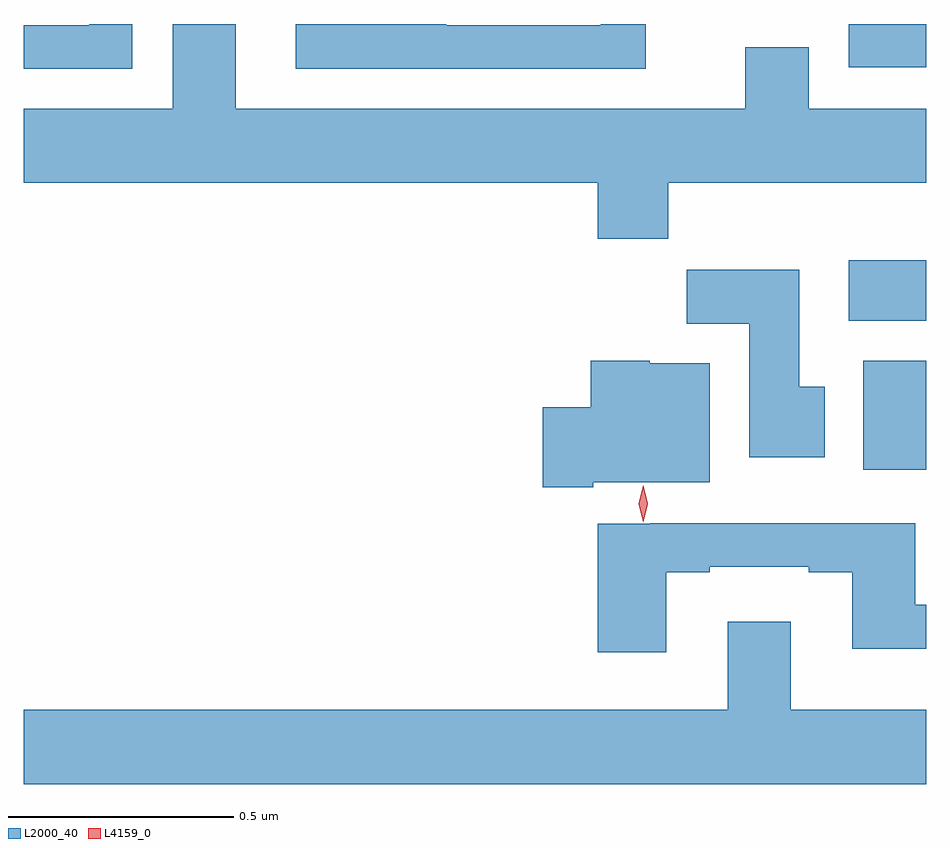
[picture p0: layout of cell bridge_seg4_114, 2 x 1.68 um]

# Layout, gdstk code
import gdstk
lib = gdstk.Library(unit=1e-6, precision=1e-09)
def R(c, l, rs):  # rectangles x0, y0, x1, y1
    for r in rs: c.add(gdstk.rectangle(r[:2], r[2:], *l))
def P(c, l, *ps):  # polygons
    for p in ps: c.add(gdstk.Polygon(p, *l))
L2000_40 = (2000, 40)
L4159_0 = (4159, 0)

bridge_seg4_114 = lib.new_cell('bridge_seg4_114')
R(bridge_seg4_114, L2000_40, [(604.181,794.852,604.321,795.094), (604.149,795.182,604.321,795.316), (604.149,795.744,604.321,795.84)])
P(bridge_seg4_114, L2000_40, [(603.749,795.488),(604.321,795.488),(604.321,795.652),(604.06,795.652),(604.06,795.788),(603.92,795.788),(603.92,795.652),(602.791,795.652),(602.791,795.84),(602.651,795.84),(602.651,795.652),(602.321,795.652),(602.321,795.488),(603.593,795.488),(603.593,795.364),(603.749,795.364)],
  [(602.562,795.84),(602.466,795.84),(602.466,795.837),(602.321,795.837),(602.321,795.741),(602.562,795.741)],
  [(603.699,795.84),(603.6,795.84),(603.6,795.837),(603.257,795.837),(603.257,795.84),(602.924,795.84),(602.924,795.741),(603.699,795.741)],
  [(604.096,795.036),(604.039,795.036),(604.039,795.295),(603.79,795.295),(603.79,795.176),(603.929,795.176),(603.929,794.88),(604.096,794.88)],
  [(603.583,794.825),(603.841,794.825),(603.841,795.088),(603.708,795.088),(603.708,795.094),(603.578,795.094),(603.578,794.991),(603.471,794.991),(603.471,794.813),(603.583,794.813)],
  [(603.745,794.625),(603.841,794.625),(603.841,794.637),(604.061,794.637),(604.061,794.625),(604.157,794.625),(604.157,794.456),(604.321,794.456),(604.321,794.553),(604.297,794.553),(604.297,794.734),(603.709,794.734),(603.709,794.733),(603.593,794.733),(603.593,794.448),(603.745,794.448)],
  [(604.321,794.32),(604.021,794.32),(604.021,794.515),(603.881,794.515),(603.881,794.32),(602.321,794.32),(602.321,794.156),(604.321,794.156)])
P(bridge_seg4_114, L4159_0, [(603.694,794.736),(603.694,794.736),(603.684,794.777),(603.694,794.818),(603.694,794.818),(603.694,794.818),(603.704,794.777),(603.694,794.736)])

lib.write_gds('bridge_seg4_114.gds')
